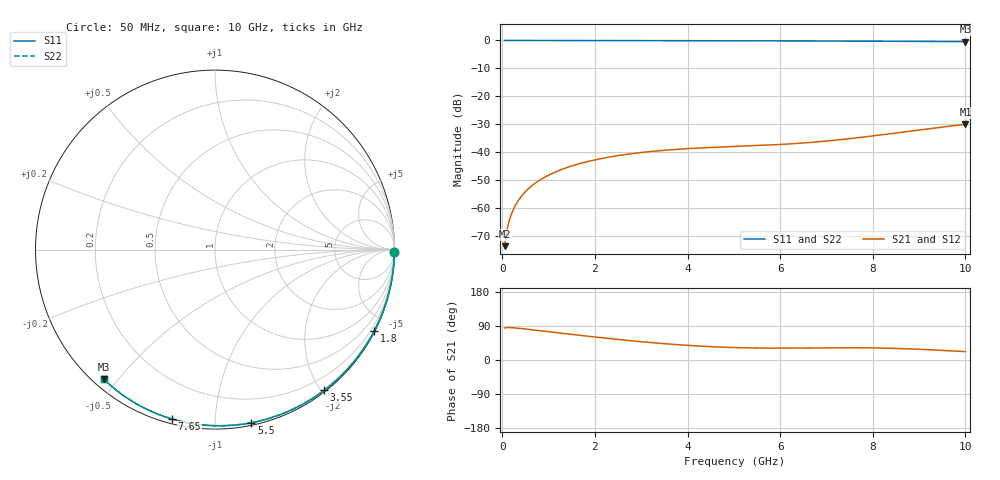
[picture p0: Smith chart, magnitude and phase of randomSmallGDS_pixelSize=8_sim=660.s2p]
! freq	dB(S11)	phase(S11)	dB(S12)	phase(S12)
!  dB(S21)	phase(S21)	dB(S22)	phase(S22)
!S-par simulation data
#  GHz  S  DB  R 50
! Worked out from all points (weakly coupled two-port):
!   200 points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, 50 MHz to 10 GHz, reference 50 ohm
!   highest |S21| = -29.96 dB at 10 GHz (marker M1); lowest = -73.5 dB at 50 MHz (marker M2)
!   lowest |S11| = -0.4 dB at 10 GHz (marker M3), VSWR 40.19, Z = 1.51 - j23 ohm
!   |S11| at or under -10 dB: nowhere
!   |S22| runs from -0.4 to 0.0 dB; largest |S21 - S12| = 0
!   S11 on the Smith chart (normalised r, x): 50 MHz: open; 1.8 GHz: 0.04, -4.15; 3.55 GHz: 0.02, -2.04; 5.5 GHz: 0.02, -1.23; 7.65 GHz: 0.02, -0.78; 10 GHz: 0.03, -0.46
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0.05  -0.00 -0.8  -73.53 84.6  -73.53 84.6  -0.00 -0.8
0.1  -0.00 -1.5  -67.83 85.5  -67.83 85.5  -0.00 -1.5
0.15  -0.00 -2.3  -64.38 85.6  -64.38 85.6  -0.00 -2.3
0.2  -0.00 -3.1  -61.92 85.4  -61.92 85.4  -0.00 -3.1
0.25  -0.00 -3.8  -60.00 84.9  -60.00 84.9  -0.00 -3.8
0.35  -0.00 -5.4  -57.10 83.8  -57.10 83.8  -0.00 -5.4
0.5  -0.01 -7.6  -54.03 81.8  -54.03 81.8  -0.01 -7.6
0.7  -0.01 -10.7  -51.16 79.0  -51.16 79.0  -0.01 -10.7
1  -0.02 -15.2  -48.16 74.7  -48.16 74.7  -0.02 -15.2
1.35  -0.03 -20.4  -45.70 69.7  -45.70 69.7  -0.03 -20.4
1.75  -0.03 -26.3  -43.68 64.1  -43.68 64.1  -0.03 -26.3
1.8  -0.03 -27.1  -43.47 63.4  -43.47 63.4  -0.03 -27.1
2.5  -0.05 -37.3  -41.16 54.2  -41.16 54.2  -0.05 -37.3
3.4  -0.07 -50.1  -39.40 44.0  -39.40 44.0  -0.07 -50.1
3.55  -0.07 -52.2  -39.19 42.6  -39.19 42.6  -0.07 -52.2
4.3  -0.09 -62.4  -38.41 36.5  -38.41 36.5  -0.09 -62.4
5.05  -0.11 -72.3  -37.88 32.7  -37.88 32.7  -0.11 -72.3
5.5  -0.13 -78.1  -37.58 31.6  -37.58 31.6  -0.13 -78.1
6.7  -0.18 -93.0  -36.40 31.9  -36.40 31.9  -0.18 -93.0
7.65  -0.23 -104.2  -34.82 32.4  -34.82 32.4  -0.23 -104.2
8.35  -0.28 -112.2  -33.39 31.0  -33.39 31.0  -0.28 -112.2
10  -0.43 -130.6  -29.96 22.1  -29.96 22.1  -0.43 -130.6
